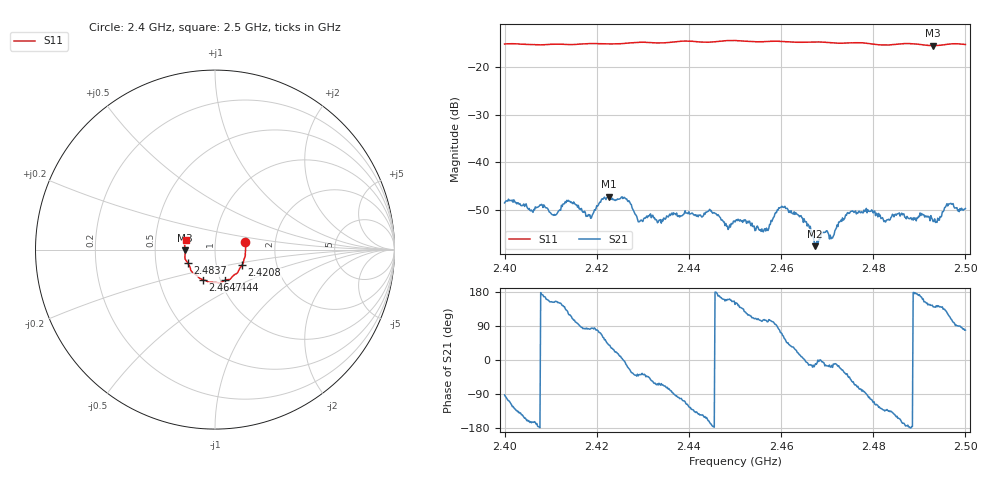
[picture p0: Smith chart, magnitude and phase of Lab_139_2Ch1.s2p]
# Hz S RI R 50
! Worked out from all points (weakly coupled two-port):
!   601 points, 2.4 GHz to 2.5 GHz, reference 50 ohm
!   highest |S21| = -47.18 dB at 2.4227 GHz (marker M1); lowest = -57.5 dB at 2.4673 GHz (marker M2)
!   lowest |S11| = -15.6 dB at 2.493 GHz (marker M3), VSWR 1.40, Z = 35.8 - j0.224 ohm
!   |S11| at or under -10 dB: start of sweep to end of sweep
!   S12 and S22 are empty: the file has one direction only
!   S11 on the Smith chart (normalised r, x): 2.4 GHz: 1.40, +0.12; 2.4208 GHz: 1.33, -0.24; 2.444 GHz: 1.06, -0.37; 2.4647 GHz: 0.83, -0.29; 2.4837 GHz: 0.73, -0.11; 2.5 GHz: 0.72, +0.08
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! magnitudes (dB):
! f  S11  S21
! 2.4 GHz  -15.3  -48.5
! 2.4167 GHz  -15.2  -49.6
! 2.4188 GHz  -15.2  -51.6
! 2.4208 GHz  -15.2  -48.4
! 2.4227 GHz  -15.2  -47.2
! 2.4265 GHz  -15.1  -47.7
! 2.4293 GHz  -14.9  -52.3
! 2.4333 GHz  -15.0  -52.5
! 2.444 GHz  -14.9  -50.3
! 2.45 GHz  -14.5  -52.5
! 2.4567 GHz  -14.7  -54.4
! 2.4603 GHz  -14.7  -49.3
! 2.4647 GHz  -14.9  -51.7
! 2.4667 GHz  -14.8  -54.5
! 2.4673 GHz  -14.8  -57.5
! 2.471 GHz  -15.0  -55.7
! 2.475 GHz  -15.0  -50.4
! 2.4833 GHz  -15.5  -51.9
! 2.4837 GHz  -15.4  -52.0
! 2.493 GHz  -15.6  -52.4
! 2.4963 GHz  -15.3  -48.7
! 2.5 GHz  -15.4  -49.7
